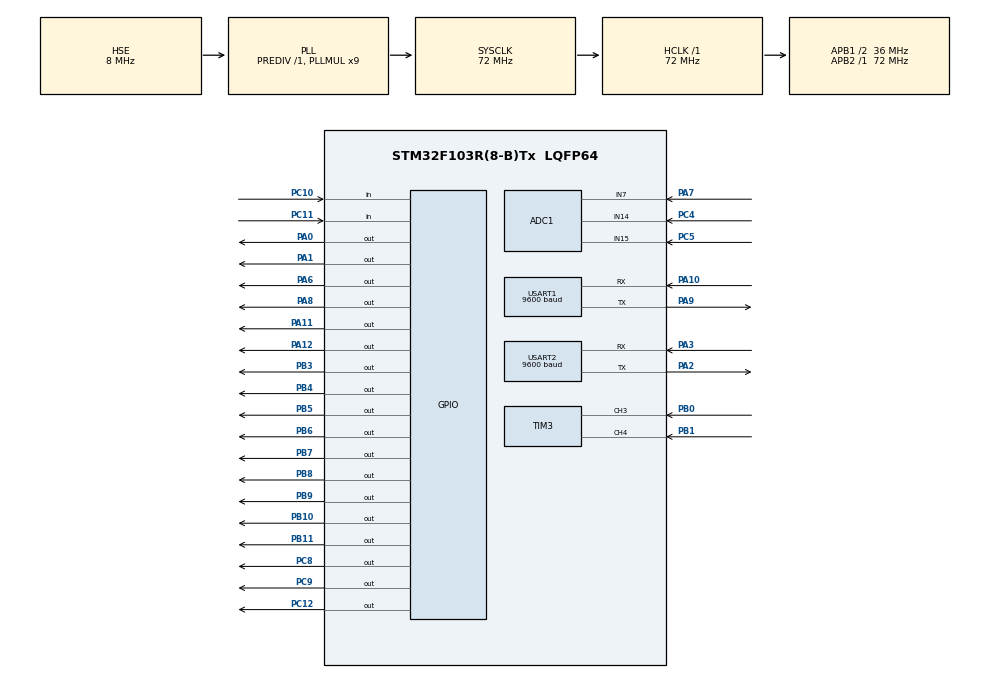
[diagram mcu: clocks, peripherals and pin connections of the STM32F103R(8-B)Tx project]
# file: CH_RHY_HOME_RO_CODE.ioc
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ADC1.Channel-0\#ChannelRegularConversion=ADC_CHANNEL_7
ADC1.Channel-1\#ChannelRegularConversion=ADC_CHANNEL_14
ADC1.Channel-2\#ChannelRegularConversion=ADC_CHANNEL_15
ADC1.ContinuousConvMode=ENABLE
ADC1.DataAlign=ADC_DATAALIGN_RIGHT
ADC1.DiscontinuousConvMode=DISABLE
ADC1.EnableAnalogWatchDog=false
ADC1.EnableRegularConversion=ENABLE
ADC1.ExternalTrigConv=ADC_SOFTWARE_START
ADC1.InjNumberOfConversion=0
ADC1.NbrOfConversion=3
ADC1.NbrOfConversionFlag=1
ADC1.Rank-0\#ChannelRegularConversion=1
ADC1.Rank-1\#ChannelRegularConversion=2
ADC1.Rank-2\#ChannelRegularConversion=3
ADC1.SamplingTime-0\#ChannelRegularConversion=ADC_SAMPLETIME_55CYCLES_5
ADC1.SamplingTime-1\#ChannelRegularConversion=ADC_SAMPLETIME_55CYCLES_5
ADC1.SamplingTime-2\#ChannelRegularConversion=ADC_SAMPLETIME_55CYCLES_5
ADC1.ScanConvMode=ADC_SCAN_ENABLE
ADC1.master=1
Dma.ADC1.4.Direction=DMA_PERIPH_TO_MEMORY
Dma.ADC1.4.Instance=DMA1_Channel1
Dma.ADC1.4.MemDataAlignment=DMA_MDATAALIGN_WORD
Dma.ADC1.4.MemInc=DMA_MINC_ENABLE
Dma.ADC1.4.Mode=DMA_CIRCULAR
Dma.ADC1.4.PeriphDataAlignment=DMA_PDATAALIGN_WORD
Dma.ADC1.4.PeriphInc=DMA_PINC_DISABLE
Dma.ADC1.4.Priority=DMA_PRIORITY_LOW
Dma.Request0=USART1_RX
Dma.Request1=USART1_TX
Dma.Request2=USART2_RX
Dma.Request3=USART2_TX
Dma.Request4=ADC1
Dma.USART1_RX.0.Direction=DMA_PERIPH_TO_MEMORY
Dma.USART1_RX.0.Instance=DMA1_Channel5
Dma.USART1_RX.0.MemDataAlignment=DMA_MDATAALIGN_BYTE
Dma.USART1_RX.0.MemInc=DMA_MINC_ENABLE
Dma.USART1_RX.0.Mode=DMA_NORMAL
Dma.USART1_RX.0.PeriphDataAlignment=DMA_PDATAALIGN_BYTE
Dma.USART1_RX.0.PeriphInc=DMA_PINC_DISABLE
Dma.USART1_RX.0.Priority=DMA_PRIORITY_VERY_HIGH
Dma.USART1_TX.1.Direction=DMA_MEMORY_TO_PERIPH
Dma.USART1_TX.1.Instance=DMA1_Channel4
Dma.USART1_TX.1.MemDataAlignment=DMA_MDATAALIGN_BYTE
Dma.USART1_TX.1.MemInc=DMA_MINC_ENABLE
Dma.USART1_TX.1.Mode=DMA_NORMAL
Dma.USART1_TX.1.PeriphDataAlignment=DMA_PDATAALIGN_BYTE
Dma.USART1_TX.1.PeriphInc=DMA_PINC_DISABLE
Dma.USART1_TX.1.Priority=DMA_PRIORITY_LOW
Dma.USART2_RX.2.Direction=DMA_PERIPH_TO_MEMORY
Dma.USART2_RX.2.Instance=DMA1_Channel6
Dma.USART2_RX.2.MemDataAlignment=DMA_MDATAALIGN_BYTE
Dma.USART2_RX.2.MemInc=DMA_MINC_ENABLE
Dma.USART2_RX.2.Mode=DMA_NORMAL
Dma.USART2_RX.2.PeriphDataAlignment=DMA_PDATAALIGN_BYTE
Dma.USART2_RX.2.PeriphInc=DMA_PINC_DISABLE
Dma.USART2_RX.2.Priority=DMA_PRIORITY_VERY_HIGH
Dma.USART2_TX.3.Direction=DMA_MEMORY_TO_PERIPH
Dma.USART2_TX.3.Instance=DMA1_Channel7
Dma.USART2_TX.3.MemDataAlignment=DMA_MDATAALIGN_BYTE
Dma.USART2_TX.3.MemInc=DMA_MINC_ENABLE
Dma.USART2_TX.3.Mode=DMA_NORMAL
Dma.USART2_TX.3.PeriphDataAlignment=DMA_PDATAALIGN_BYTE
Dma.USART2_TX.3.PeriphInc=DMA_PINC_DISABLE
Dma.USART2_TX.3.Priority=DMA_PRIORITY_LOW
FREERTOS.BinarySemaphores01=Bc95RecvSem,Dynamic,NULL
FREERTOS.INCLUDE_vTaskDelayUntil=1
FREERTOS.Tasks01=AppTask,2,400,StartAppTask,Default,NULL,Dynamic,NULL,NULL;Bc95InitTask,-3,512,StartBc95InitTask,Default,NULL,Dynamic,NULL,NULL;ControlTask,1,128,StartControlTask,Default,NULL,Dynamic,NULL,NULL;ErrorCheckTask,-3,128,StartErrorCheckTask,Default,NULL,Dynamic,NULL,NULL;Bc95RecvTask,3,512,StartBc95RecvTask,Default,NULL,Dynamic,NULL,NULL;Bc95SendTask,-3,512,StartBc95SendTask,Default,NULL,Dynamic,NULL,NULL
FREERTOS.configTOTAL_HEAP_SIZE=15000
Mcu.Family=STM32F1
Mcu.Name=STM32F103R(8-B)Tx
Mcu.Package=LQFP64
NVIC.DMA1_Channel1_IRQn=true\:5\:0\:false\:false\:true\:true\:false
NVIC.DMA1_Channel4_IRQn=true\:5\:0\:false\:false\:true\:true\:false
NVIC.DMA1_Channel5_IRQn=true\:5\:0\:false\:false\:true\:true\:false
NVIC.DMA1_Channel6_IRQn=true\:5\:0\:false\:false\:true\:true\:false
NVIC.DMA1_Channel7_IRQn=true\:5\:0\:false\:false\:true\:true\:false
NVIC.PriorityGroup=NVIC_PRIORITYGROUP_4
NVIC.TIM2_IRQn=true\:5\:0\:false\:false\:true\:true\:true
NVIC.TIM3_IRQn=true\:5\:0\:false\:false\:true\:true\:true
NVIC.TIM4_IRQn=true\:0\:0\:false\:false\:true\:false\:false
NVIC.TimeBase=TIM4_IRQn
NVIC.TimeBaseIP=TIM4
NVIC.USART1_IRQn=true\:5\:0\:false\:false\:true\:true\:true
NVIC.USART2_IRQn=true\:5\:0\:false\:false\:true\:true\:true
PA0-WKUP.Signal=GPIO_Output
PA1.GPIO_Speed=GPIO_SPEED_FREQ_HIGH
PA1.Signal=GPIO_Output
PA10.Mode=Asynchronous
PA10.Signal=USART1_RX
PA11.Signal=GPIO_Output
PA12.GPIO_Speed=GPIO_SPEED_FREQ_HIGH
PA12.PinState=GPIO_PIN_RESET
PA12.Signal=GPIO_Output
PA13.Mode=Serial_Wire
PA13.Signal=SYS_JTMS-SWDIO
PA14.Mode=Serial_Wire
PA14.Signal=SYS_JTCK-SWCLK
PA2.Mode=Asynchronous
PA2.Signal=USART2_TX
PA3.Mode=Asynchronous
PA3.Signal=USART2_RX
PA6.Signal=GPIO_Output
PA7.Signal=ADCx_IN7
PA8.Signal=GPIO_Output
PA9.Mode=Asynchronous
PA9.Signal=USART1_TX
PB0.Signal=S_TIM3_CH3
PB1.Signal=S_TIM3_CH4
PB10.GPIO_ModeDefaultOutputPP=GPIO_MODE_OUTPUT_OD
PB10.GPIO_Speed=GPIO_SPEED_FREQ_HIGH
PB10.Signal=GPIO_Output
PB11.GPIO_ModeDefaultOutputPP=GPIO_MODE_OUTPUT_OD
PB11.GPIO_Speed=GPIO_SPEED_FREQ_HIGH
PB11.Signal=GPIO_Output
PB3.GPIO_Speed=GPIO_SPEED_FREQ_LOW
PB3.PinState=GPIO_PIN_SET
PB3.Signal=GPIO_Output
PB4.PinState=GPIO_PIN_SET
PB4.Signal=GPIO_Output
PB5.PinState=GPIO_PIN_SET
PB5.Signal=GPIO_Output
PB6.PinState=GPIO_PIN_SET
PB6.Signal=GPIO_Output
PB7.PinState=GPIO_PIN_SET
PB7.Signal=GPIO_Output
PB8.Signal=GPIO_Output
PB9.Signal=GPIO_Output
PC10.GPIO_PuPd=GPIO_PULLUP
PC10.Signal=GPIO_Input
PC11.GPIO_PuPd=GPIO_PULLUP
PC11.Signal=GPIO_Input
PC12.GPIO_Speed=GPIO_SPEED_FREQ_LOW
PC12.PinState=GPIO_PIN_SET
PC12.Signal=GPIO_Output
PC4.Signal=ADCx_IN14
PC5.Signal=ADCx_IN15
PC8.Signal=GPIO_Output
PC9.Signal=GPIO_Output
PD0-OSC_IN.Mode=HSE-External-Oscillator
PD0-OSC_IN.Signal=RCC_OSC_IN
PD1-OSC_OUT.Mode=HSE-External-Oscillator
PD1-OSC_OUT.Signal=RCC_OSC_OUT
ProjectManager.HeapSize=0x200
ProjectManager.StackSize=0x400
ProjectManager.TargetToolchain=EWARM
RCC.ADCPresc=RCC_ADCPCLK2_DIV6
RCC.AHBFreq_Value=72000000
RCC.APB1CLKDivider=RCC_HCLK_DIV2
RCC.APB1Freq_Value=36000000
RCC.APB1TimFreq_Value=72000000
RCC.APB2Freq_Value=72000000
RCC.APB2TimFreq_Value=72000000
RCC.HCLKFreq_Value=72000000
RCC.PLLMUL=RCC_PLL_MUL9
RCC.PLLSourceVirtual=RCC_PLLSOURCE_HSE
RCC.SYSCLKFreq_VALUE=72000000
RCC.SYSCLKSource=RCC_SYSCLKSOURCE_PLLCLK
RCC.USBFreq_Value=72000000
SH.ADCx_IN14.0=ADC1_IN14,IN14
SH.ADCx_IN15.0=ADC1_IN15,IN15
SH.ADCx_IN7.0=ADC1_IN7,IN7
SH.S_TIM3_CH3.0=TIM3_CH3,Input_Capture3_from_TI3
SH.S_TIM3_CH4.0=TIM3_CH4,Input_Capture4_from_TI4
TIM2.Period=10000-1
TIM2.Prescaler=7200-1
TIM3.Channel-Input_Capture3_from_TI3=TIM_CHANNEL_3
TIM3.Channel-Input_Capture4_from_TI4=TIM_CHANNEL_4
USART1.BaudRate=9600
USART1.VirtualMode=VM_ASYNC
USART2.BaudRate=9600
USART2.VirtualMode=VM_ASYNC
VP_FREERTOS_VS_ENABLE.Mode=Enabled
VP_SYS_VS_tim4.Mode=TIM4
VP_TIM1_VS_ClockSourceINT.Mode=Internal
VP_TIM2_VS_ClockSourceINT.Mode=Internal
board=CH_RHY_HOME_RO_CODE

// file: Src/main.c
/**
  ******************************************************************************
  * @file           : main.c
  * @brief          : Main program body
  ******************************************************************************
  * This notice applies to any and all portions of this file
  * that are not between comment pairs USER CODE BEGIN and
  * USER CODE END. Other portions of this file, whether
  * inserted by the user or by software development tools
  * are owned by their respective copyright owners.
  *
  * Copyright (c) 2018 STMicroelectronics International N.V.
  * All rights reserved.
  *
  * Redistribution and use in source and binary forms, with or without
  * modification, are permitted, provided that the following conditions are met:
  *
  * 1. Redistribution of source code must retain the above copyright notice,
  *    this list of conditions and the following disclaimer.
  * 2. Redistributions in binary form must reproduce the above copyright notice,
  *    this list of conditions and the following disclaimer in the documentation
  *    and/or other materials provided with the distribution.
  * 3. Neither the name of STMicroelectronics nor the names of other
  *    contributors to this software may be used to endorse or promote products
  *    derived from this software without specific written permission.
  * 4. This software, including modifications and/or derivative works of this
  *    software, must execute solely and exclusively on microcontroller or
  *    microprocessor devices manufactured by or for STMicroelectronics.
  * 5. Redistribution and use of this software other than as permitted under
  *    this license is void and will automatically terminate your rights under
  *    this license.
  *
  * THIS SOFTWARE IS PROVIDED BY STMICROELECTRONICS AND CONTRIBUTORS "AS IS"
  * AND ANY EXPRESS, IMPLIED OR STATUTORY WARRANTIES, INCLUDING, BUT NOT
  * LIMITED TO, THE IMPLIED WARRANTIES OF MERCHANTABILITY, FITNESS FOR A
  * PARTICULAR PURPOSE AND NON-INFRINGEMENT OF THIRD PARTY INTELLECTUAL PROPERTY
  * RIGHTS ARE DISCLAIMED TO THE FULLEST EXTENT PERMITTED BY LAW. IN NO EVENT
  * SHALL STMICROELECTRONICS OR CONTRIBUTORS BE LIABLE FOR ANY DIRECT, INDIRECT,
  * INCIDENTAL, SPECIAL, EXEMPLARY, OR CONSEQUENTIAL DAMAGES (INCLUDING, BUT NOT
  * LIMITED TO, PROCUREMENT OF SUBSTITUTE GOODS OR SERVICES; LOSS OF USE, DATA,
  * OR PROFITS; OR BUSINESS INTERRUPTION) HOWEVER CAUSED AND ON ANY THEORY OF
  * LIABILITY, WHETHER IN CONTRACT, STRICT LIABILITY, OR TORT (INCLUDING
  * NEGLIGENCE OR OTHERWISE) ARISING IN ANY WAY OUT OF THE USE OF THIS SOFTWARE,
  * EVEN IF ADVISED OF THE POSSIBILITY OF SUCH DAMAGE.
  *
  ******************************************************************************
  */
#include "main.h"
#include "stm32f1xx_hal.h"
#include "cmsis_os.h"
#include "adc.h"
#include "dma.h"
#include "tim.h"
#include "usart.h"
#include "gpio.h"

/* USER CODE BEGIN Includes */
#include "app.h"
/* USER CODE END Includes */

/* USER CODE BEGIN PV */
/* Private variables ---------------------------------------------------------*/

/* USER CODE END PV */

void SystemClock_Config(void);
void MX_FREERTOS_Init(void);

/* USER CODE BEGIN PFP */
/* Private function prototypes -----------------------------------------------*/

/* USER CODE END PFP */

int main(void)
{

  /* MCU Configuration----------------------------------------------------------*/

  /* Reset of all peripherals, Initializes the Flash interface and the Systick. */
  HAL_Init();

  /* Configure the system clock */
  SystemClock_Config();

  /* Initialize all configured peripherals */
  MX_GPIO_Init();
  MX_DMA_Init();
  MX_ADC1_Init();
  MX_USART2_UART_Init();
  MX_USART1_UART_Init();
  MX_TIM3_Init();
  MX_TIM2_Init();
  MX_TIM1_Init();
  /* USER CODE BEGIN 2 */
  //开启看门狗
  open_wdi();
  device_status.rinse = 1;      //开机冲洗，
  device_status.boot = 1;       //设置设备开机
  start_adc();                  //开启adc转换
  //HAL_TIM_IC_Start_IT(htim3, TIM_CHANNEL_3);

  /* USER CODE END 2 */

  /* Call init function for freertos objects (in freertos.c) */
  MX_FREERTOS_Init();

  /* Start scheduler */
  osKernelStart();

  /* We should never get here as control is now taken by the scheduler */

  /* Infinite loop */
    while (1)
    {

    }

}

void SystemClock_Config(void)
{

  RCC_OscInitTypeDef RCC_OscInitStruct;
  RCC_ClkInitTypeDef RCC_ClkInitStruct;
  RCC_PeriphCLKInitTypeDef PeriphClkInit;

    /**Initializes the CPU, AHB and APB busses clocks
    */
  RCC_OscInitStruct.OscillatorType = RCC_OSCILLATORTYPE_HSE;
  RCC_OscInitStruct.HSEState = RCC_HSE_ON;
  RCC_OscInitStruct.HSEPredivValue = RCC_HSE_PREDIV_DIV1;
  RCC_OscInitStruct.HSIState = RCC_HSI_ON;
  RCC_OscInitStruct.PLL.PLLState = RCC_PLL_ON;
  RCC_OscInitStruct.PLL.PLLSource = RCC_PLLSOURCE_HSE;
  RCC_OscInitStruct.PLL.PLLMUL = RCC_PLL_MUL9;
  if (HAL_RCC_OscConfig(&RCC_OscInitStruct) != HAL_OK)
  {
    _Error_Handler(__FILE__, __LINE__);
  }

    /**Initializes the CPU, AHB and APB busses clocks
    */
  RCC_ClkInitStruct.ClockType = RCC_CLOCKTYPE_HCLK|RCC_CLOCKTYPE_SYSCLK
                              |RCC_CLOCKTYPE_PCLK1|RCC_CLOCKTYPE_PCLK2;
  RCC_ClkInitStruct.SYSCLKSource = RCC_SYSCLKSOURCE_PLLCLK;
  RCC_ClkInitStruct.AHBCLKDivider = RCC_SYSCLK_DIV1;
  RCC_ClkInitStruct.APB1CLKDivider = RCC_HCLK_DIV2;
  RCC_ClkInitStruct.APB2CLKDivider = RCC_HCLK_DIV1;

  if (HAL_RCC_ClockConfig(&RCC_ClkInitStruct, FLASH_LATENCY_2) != HAL_OK)
  {
    _Error_Handler(__FILE__, __LINE__);
  }

  PeriphClkInit.PeriphClockSelection = RCC_PERIPHCLK_ADC;
  PeriphClkInit.AdcClockSelection = RCC_ADCPCLK2_DIV6;
  if (HAL_RCCEx_PeriphCLKConfig(&PeriphClkInit) != HAL_OK)
  {
    _Error_Handler(__FILE__, __LINE__);
  }

    /**Configure the Systick interrupt time
    */
  HAL_SYSTICK_Config(HAL_RCC_GetHCLKFreq()/1000);

    /**Configure the Systick
    */
  HAL_SYSTICK_CLKSourceConfig(SYSTICK_CLKSOURCE_HCLK);

  /* SysTick_IRQn interrupt configuration */
  HAL_NVIC_SetPriority(SysTick_IRQn, 15, 0);
}

void HAL_TIM_PeriodElapsedCallback(TIM_HandleTypeDef *htim)
{
  if (htim->Instance == TIM4) {
    HAL_IncTick();
  }
}

void _Error_Handler(char *file, int line)
{
    while(1)
    {
    }
}

/************************ (C) COPYRIGHT STMicroelectronics *****END OF FILE****/

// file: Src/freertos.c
/**
  ******************************************************************************
  * File Name          : freertos.c
  * Description        : Code for freertos applications
  ******************************************************************************
  * This notice applies to any and all portions of this file
  * that are not between comment pairs USER CODE BEGIN and
  * USER CODE END. Other portions of this file, whether
  * inserted by the user or by software development tools
  * are owned by their respective copyright owners.
  *
  * Copyright (c) 2018 STMicroelectronics International N.V.
  * All rights reserved.
  *
  * Redistribution and use in source and binary forms, with or without
  * modification, are permitted, provided that the following conditions are met:
  *
  * 1. Redistribution of source code must retain the above copyright notice,
  *    this list of conditions and the following disclaimer.
  * 2. Redistributions in binary form must reproduce the above copyright notice,
  *    this list of conditions and the following disclaimer in the documentation
  *    and/or other materials provided with the distribution.
  * 3. Neither the name of STMicroelectronics nor the names of other
  *    contributors to this software may be used to endorse or promote products
  *    derived from this software without specific written permission.
  * 4. This software, including modifications and/or derivative works of this
  *    software, must execute solely and exclusively on microcontroller or
  *    microprocessor devices manufactured by or for STMicroelectronics.
  * 5. Redistribution and use of this software other than as permitted under
  *    this license is void and will automatically terminate your rights under
  *    this license.
  *
  * THIS SOFTWARE IS PROVIDED BY STMICROELECTRONICS AND CONTRIBUTORS "AS IS"
  * AND ANY EXPRESS, IMPLIED OR STATUTORY WARRANTIES, INCLUDING, BUT NOT
  * LIMITED TO, THE IMPLIED WARRANTIES OF MERCHANTABILITY, FITNESS FOR A
  * PARTICULAR PURPOSE AND NON-INFRINGEMENT OF THIRD PARTY INTELLECTUAL PROPERTY
  * RIGHTS ARE DISCLAIMED TO THE FULLEST EXTENT PERMITTED BY LAW. IN NO EVENT
  * SHALL STMICROELECTRONICS OR CONTRIBUTORS BE LIABLE FOR ANY DIRECT, INDIRECT,
  * INCIDENTAL, SPECIAL, EXEMPLARY, OR CONSEQUENTIAL DAMAGES (INCLUDING, BUT NOT
  * LIMITED TO, PROCUREMENT OF SUBSTITUTE GOODS OR SERVICES; LOSS OF USE, DATA,
  * OR PROFITS; OR BUSINESS INTERRUPTION) HOWEVER CAUSED AND ON ANY THEORY OF
  * LIABILITY, WHETHER IN CONTRACT, STRICT LIABILITY, OR TORT (INCLUDING
  * NEGLIGENCE OR OTHERWISE) ARISING IN ANY WAY OUT OF THE USE OF THIS SOFTWARE,
  * EVEN IF ADVISED OF THE POSSIBILITY OF SUCH DAMAGE.
  *
  ******************************************************************************
  */

#include "FreeRTOS.h"
#include "task.h"
#include "cmsis_os.h"

/* USER CODE BEGIN Includes */

#include "app.h"

/* USER CODE END Includes */

osThreadId AppTaskHandle;
osThreadId Bc95InitTaskHandle;
osThreadId ControlTaskHandle;
osThreadId ErrorCheckTaskHandle;
osThreadId Bc95RecvTaskHandle;
osThreadId Bc95SendTaskHandle;
osSemaphoreId Bc95RecvSemHandle;

void StartAppTask(void const * argument);
void StartBc95InitTask(void const * argument);
void StartControlTask(void const * argument);
void StartErrorCheckTask(void const * argument);
void StartBc95RecvTask(void const * argument);
void StartBc95SendTask(void const * argument);

void MX_FREERTOS_Init(void); /* (MISRA C 2004 rule 8.1) */

/* Hook prototypes */

/* Init FreeRTOS */

void MX_FREERTOS_Init(void) {

  /* Create the semaphores(s) */
  /* definition and creation of Bc95RecvSem */
  osSemaphoreDef(Bc95RecvSem);
  Bc95RecvSemHandle = osSemaphoreCreate(osSemaphore(Bc95RecvSem), 1);

  /* Create the thread(s) */
  /* definition and creation of AppTask */
  osThreadDef(AppTask, StartAppTask, osPriorityHigh, 0, 400);
  AppTaskHandle = osThreadCreate(osThread(AppTask), NULL);

  /* definition and creation of Bc95InitTask */
  osThreadDef(Bc95InitTask, StartBc95InitTask, osPriorityIdle, 0, 512);
  Bc95InitTaskHandle = osThreadCreate(osThread(Bc95InitTask), NULL);

  /* definition and creation of ControlTask */
  osThreadDef(ControlTask, StartControlTask, osPriorityAboveNormal, 0, 128);
  ControlTaskHandle = osThreadCreate(osThread(ControlTask), NULL);

  /* definition and creation of Bc95SendTask */
  osThreadDef(Bc95SendTask, StartBc95SendTask, osPriorityIdle, 0, 512);
  Bc95SendTaskHandle = osThreadCreate(osThread(Bc95SendTask), NULL);

}

/* StartAppTask function */
void StartAppTask(void const * argument)
{

  /* USER CODE BEGIN StartAppTask */
    uint32_t send_data_time_count = 0;
    /* Infinite loop */
    for(;;)
    {
        _system_led;

        send_data_time_count++;

        if(device_status.device_mode == 1){             //设备为租赁模式

            if(device_status.arrears_boot == 0){        //如果设备欠费则停机
                    device_status.boot = 0;
            }

            if(device_status.flow_or_time == 1){        //流量模式

            }else if(device_status.flow_or_time == 2){ //时间模式

            }
        }else if(device_status.device_mode == 2){       //设备为零售模式
            //零售模式不存在停机开关机，永远停机开机
            device_status.arrears_boot = 1;
        }

        if(send_data_time_count >= 2880){               //48分钟发送一次
            bc95_send_coap(cmd_coap_send_ok);
            send_data_time_count = 0;
        }
        osDelay(1000);
    }
  /* USER CODE END StartAppTask */
}

/* StartBc95InitTask function */
void StartBc95InitTask(void const * argument)
{
  /* USER CODE BEGIN StartBc95InitTask */
    /* Infinite loop */
    for(;;)
    {
        if(device_status.bc95_run){

            //开始检查bc95接收任务
            /* definition and creation of Bc95RecvTask */
            osThreadDef(Bc95RecvTask, StartBc95RecvTask, osPriorityIdle, 0, 512);
            Bc95RecvTaskHandle = osThreadCreate(osThread(Bc95RecvTask), NULL);

            /* definition and creation of ErrorCheckTask */
            osThreadDef(ErrorCheckTask, StartErrorCheckTask, osPriorityIdle, 0, 400);
            ErrorCheckTaskHandle = osThreadCreate(osThread(ErrorCheckTask), NULL);

            status_network_led(GPIO_PIN_SET);

            //初始化完成后删除该任务
            vTaskDelete(NULL);
        }
        bc95_reboot();
        osDelay(1300);
    }
  /* USER CODE END StartBc95InitTask */
}

/* StartControlTask function */
void StartControlTask(void const * argument)
{
  /* USER CODE BEGIN StartControlTask */
    uint8_t no_water_count = 0;
    /* Infinite loop */
    for(;;)
    {
        //boot_rinse();

        //如果需要冲洗，则开启冲洗
        if(device_status.rinse){
            device_status.rinse = 0;
            start_rinse();
            osDelay(device_status.rinse_time * 1000);
            stop_rinse();
        }

        //检测是否缺水
        if(get_low_switch()){
            no_water_count++;
            stop_rinse();

            if(no_water_count >= 5){    //如果连续10秒没有水
                device_error.raw_no_water = 1;

            }
        }else{
            //清空缺水计数
            no_water_count = 0;
            device_error.raw_no_water = 0;
            //允许再次发送缺水信息
            if(device_error.raw_no_water_sended == 1){
                device_status.processing_status = 0;
                bc95_send_coap(cmd_coap_send_ok);
                device_error.raw_no_water_sended = 0;

            }

            //水满，停止制水
            if(get_high_switch()){
                stop_create_water();
            }else{      //水未满，继续制水
                start_create_water();
            }
        }
        osDelay(2000);
    }
  /* USER CODE END StartControlTask */
}

/* StartErrorCheckTask function */
void StartErrorCheckTask(void const * argument)
{
  /* USER CODE BEGIN StartErrorCheckTask */

    uint8_t leakage_count = 0;

    /* Infinite loop */
    for(;;)
    {
        feed_wdi();     //喂狗

        //累加20次漏水检测结果
        uint32_t leakage_value = 0;
        for(uint8_t i = 0 ; i < 20 ; i++){
            leakage_value += adc_value[ i * 3 ];
        }
        /* 计算漏水检测到的数值，并判断是否漏水，如果本次漏水则将漏水计数+1
           如果不漏水则清0，
        */
        if(leakage_value/20 <= 2500){
            leakage_count++;
        }else{
            leakage_count = 0;
        }

        /* 如果连续漏水超过30秒，则设置漏水标志，
           如果不漏水了，则设置可以发送错误标志位，并清除错误
        */
        if(leakage_count >= 6){
            device_error.leakage = 1;
            leakage_count = 6;
            beep(100);
        }else{
            device_error.leakage = 0;
            if(device_error.leakage_sended == 1){
                device_status.processing_status = 0;
                bc95_send_coap(cmd_coap_send_ok);
                device_error.leakage_sended = 0;
            }
        }

        //判断是否有错误,如果有错误，则继续检测是什么错误
        if(device_error.bc95_init_error != 0 ||         // bc95初始化失败
           device_error.create_water_too_long != 0 ||   // 制水时间过长
           device_error.leakage != 0 ||                 // 漏水
           device_error.raw_no_water != 0 ||            // 原水缺水
           device_status.arrears_boot == 0 )            // 停机
        {

            device_status.processing_status = 3;        //设置错误

            //检测BC95是否初始化失败，如果失败则重新初始化
            if(device_error.bc95_init_error == BC95_CONNECT_ERROR){
                beep(50);
                //如果BC95初始化失败，则重新创建初始化任务。
                /* definition and creation of Bc95InitTask */
                osThreadDef(Bc95InitTask, StartBc95InitTask, osPriorityIdle, 0, 512);
                Bc95InitTaskHandle = osThreadCreate(osThread(Bc95InitTask), NULL);
            }

            //检测是否已经缺水，如果已经缺水，并且没有发送错误信息，则发送错误
            if(device_error.raw_no_water == 1 && device_error.raw_no_water_sended == 0){
                if(bc95_send_coap(cmd_coap_send_ok)){
                    device_error.raw_no_water_sended = 1;
                }
            }

            //检测是否发生漏水，如果已经漏水，并且没有发送错误信息，则发送错误信息
            if(device_error.leakage == 1 && device_error.leakage_sended == 0){
                device_status.boot = 0;                 //漏水关机,
                if(bc95_send_coap(cmd_coap_send_ok)){
                    device_error.leakage_sended = 1;
                }
            }
            status_error_led(GPIO_PIN_SET);
        }else{
            device_status.processing_status = 0;
            status_error_led(GPIO_PIN_RESET);
        }

        osDelay(5000);
    }
  /* USER CODE END StartErrorCheckTask */
}

/* StartBc95RecvTask function */
void StartBc95RecvTask(void const * argument)
{
  /* USER CODE BEGIN StartBc95RecvTask */
    uint8_t count = 0;
    /* Infinite loop */
    for(;;)
    {
        _network_led;
        count++;

        if(count >= 5){
            count = 0;
            //获取联网状态，如果掉网则重新注册
            if(!bc95_get_profile_status()){
                bc95_send_command("AT+CGATT=1\r\n", "OK", BC95_TIMEOUT, BC95_LOOP_NUMBER);
            }

            bc95_get_csq();
        }
        bc95_check_recv();
        osDelay(3000);
    }
  /* USER CODE END StartBc95RecvTask */
}

/* StartBc95SendTask function */
void StartBc95SendTask(void const * argument)
{
  for(;;)
  {
    osDelay(1);
  }
}

/************************ (C) COPYRIGHT STMicroelectronics *****END OF FILE****/
